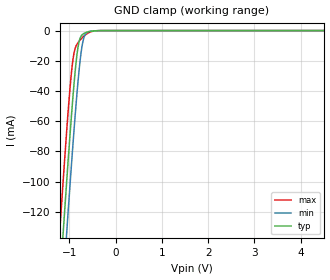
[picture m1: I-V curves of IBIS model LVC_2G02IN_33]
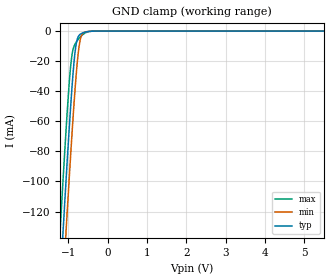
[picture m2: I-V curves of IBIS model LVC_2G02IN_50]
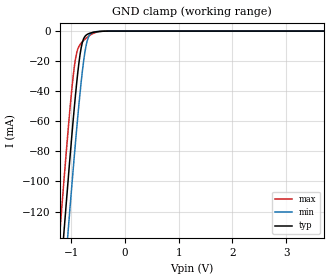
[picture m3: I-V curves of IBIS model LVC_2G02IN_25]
| NXP Semiconductors
| Logic Products Group
| IBIS model of 74LVC2G02
| 3.3V DUAL 2-INPUT NOR GATE
|[Packages]:
|[Package1]: TSSOP8 (DP) 8-pins Package
|[Package2]: VSSOP8 (DC) 8-pins Package
|[Package3]: XSON8 (GT) 8-pins Package
|[Package4]: XSON8 (GF) 8-pins Package
|[Package5]: XSON8U (GD) 8-pins package
|[Package6]: XSON8 (GN) 8-pins Package
|[Package7]: XSON8 (GS) 8-pins Package
|[Package8]: XQFN8U (GM) 8-pins Package
[IBIS Ver]   3.2
[File Name]   lvc2g02.ibs
[File Rev]   1.2
[Date]   01-Feb-2013
[Source]   File created from simulations by LPG
   NXP Semiconductors Nijmegen
[Notes]   V1.2   Ibis model.
| Revision History
| Version Date   Author/ Description
|   Editor
| 1.0   August   2003 RM   Initial Version
| 1.1   December 2004 RRV   Added XSON package
| 1.2   December 2011 GY   Updated models,added GN,GS package
| Remarks:
| 1. The Power Clamp curves have been omitted since there is no power clamp
|   diode.
| 2. Non-monotonic sections below 0V in pulldown and pullup curves have been
|   removed (if any).
[Disclaimer]
    NXP Semiconductors warrants and represents that the IBIS model
    identified herein is owned by NXP Semiconductors (NXP). The
    model provided is not warranted as fully representing all of the
    operating characteristics and specifications of the semiconductor
    products to which the model relates.  Moreover, unless there is a
    signed, written agreement to the contrary, this IBIS model is
    furnished on an "as is" basis without support or warranty of any
    kind, either expressed or implied, regarding the use thereof, and
    NXP specifically disclaims all implied warranties of
    merchantability and fitness of the model for any purpose.
    NXP does not assume any liability arising out of the application
    or use of this IBIS model including infringement of patents and
    copyrights, nor does NXP convey any license under its patents and
    copyrights or the rights of others.
    NXP provides IBIS models as a service to our customers. You and
    your company shall not distribute, convey, sell, or give these models
    to anyone else without receiving prior written permission from
    NXP.
    NXP reserves the right to make changes without notice to these
    IBIS models to improve reliability, function, or design.
    Please be aware that your receipt and subsequent use of the IBIS
    information provided shall serve as acceptance of the terms and
    conditions of this agreement.  If you do not accept these terms,
    you should return or destroy the IBIS models and any other
    accompanying information immediately.
[Copyright]
   (C) Copyright 2011 NXP Semiconductors
   All rights reserved
|   Info for  TSSOP8 (DP) 8-pins Package
[Component]   74LVC2G02_DP
[Manufacturer]   NXP Semiconductors
[Package]
|   Typ   Min   Max
R_pkg   7.796E-02   6.927E-02   8.662E-02
L_pkg   1.612E-09   1.470E-09   1.752E-09
C_pkg   3.647E-13   3.408E-13   3.889E-13
[Pin] signal_name   model_name   R_pin   L_pin   C_pin
   1   A1   LVC2G02_IN 8.661E-02   1.752E-09   3.411E-13
   2   B1   LVC2G02_IN 6.930E-02   1.472E-09   3.889E-13
   3   Y2#   LVC2G02_OUTI 6.932E-02   1.475E-09   3.883E-13
   4   GND   GND 8.662E-02   1.752E-09   3.410E-13
   5   A2   LVC2G02_IN  8.662E-02   1.751E-09   3.408E-13
   6   B2   LVC2G02_IN  6.930E-02   1.472E-09   3.880E-13
   7   Y1#   LVC2G02_OUTI  6.927E-02   1.470E-09   3.883E-13
   8   VCC   POWER 8.662E-02   1.750E-09   3.409E-13
|   Info for  VSSOP8 (DC) 8-pins Package
[Component]   74LVC2G02_DC
[Manufacturer]   NXP Semiconductors
[Package]
|   Typ   Min   Max
R_pkg   8.321E-02   8.287E-02   8.533E-02
L_pkg   1.585E-09   1.544E-09   1.824E-09
C_pkg   3.093E-13   2.504E-13   5.556E-13
[Pin] signal_name   model_name   R_pin   L_pin   C_pin
   1   A1   LVC2G02_IN 8.295E-02   1.560E-09   2.505E-13
   2   B1   LVC2G02_IN 8.290E-02   1.546E-09   2.924E-13
   3   Y2#   LVC2G02_OUTI 8.288E-02   1.546E-09   2.896E-13
   4   GND   GND 8.533E-02   1.824E-09   5.556E-13
   5   A2   LVC2G02_IN  8.295E-02   1.560E-09   2.504E-13
   6   B2   LVC2G02_IN  8.287E-02   1.544E-09   2.920E-13
   7   Y1#   LVC2G02_OUTI  8.289E-02   1.545E-09   2.920E-13
   8   VCC   POWER 8.293E-02   1.559E-09   2.516E-13
|   Info for  XSON8 (GT) 8-pins Package
[Component]   74LVC2G02_GT
[Manufacturer]   NXP Semiconductors
[Package]
|   Typ   Min   Max
R_pkg   4.241E-02   3.477E-02   5.228E-02
L_pkg   5.404E-10   4.419E-10   6.673E-10
C_pkg   1.195E-13   1.144E-13   1.275E-13
[Pin] signal_name   model_name   R_pin   L_pin   C_pin
   1   A1   LVC2G02_IN 4.701E-02 6.002E-10 1.203E-13
   2   B1   LVC2G02_IN 3.559E-02 4.525E-10 1.154E-13
   3   Y2#   LVC2G02_OUTI 3.478E-02 4.421E-10 1.144E-13
   4   GND   GND 5.228E-02 6.673E-10 1.275E-13
   5   A2   LVC2G02_IN 5.228E-02 6.672E-10 1.275E-13
   6   B2   LVC2G02_IN 3.477E-02 4.419E-10 1.145E-13
   7   Y1#   LVC2G02_OUTI 3.558E-02 4.523E-10 1.154E-13
   8   VCC   POWER 4.701E-02 5.996E-10 1.211E-13
|   Info for  XSON8 (GF) 8-pins Package
[Component]   74LVC2G02_GF
[Manufacturer]   NXP Semiconductors
[Package]
|   Typ   Min   Max
R_pkg   3.673E-02   3.526E-02   3.882E-02
L_pkg   4.676E-10   4.489E-10   4.948E-10
C_pkg   1.130E-13   1.067E-13   1.165E-13
[Pin] signal_name   model_name   R_pin   L_pin   C_pin
   1   A1   LVC2G02_IN 3.526E-02 4.496E-10 1.067E-13
   2   B1   LVC2G02_IN 3.655E-02 4.648E-10 1.165E-13
   3   Y2#   LVC2G02_OUTI 3.631E-02 4.617E-10 1.162E-13
   4   GND   GND 3.882E-02 4.948E-10 1.119E-13
   5   A2   LVC2G02_IN 3.882E-02 4.946E-10 1.120E-13
   6   B2   LVC2G02_IN 3.630E-02 4.615E-10 1.163E-13
   7   Y1#   LVC2G02_OUTI 3.654E-02 4.646E-10 1.165E-13
   8   VCC   POWER 3.526E-02 4.489E-10 1.076E-13
|   Info for  XSON8U (GD) 8-pins package
[Component]   74LVC2G02_GD
[Manufacturer]   NXP Semiconductors
[Package]
|   Typ   Min   Max
R_pkg   7.877E-02   7.876E-02   7.877E-02
L_pkg   1.209E-09   1.209E-09   1.209E-09
C_pkg   1.410E-13   1.367E-13   1.439E-13
[Pin] signal_name   model_name   R_pin   L_pin   C_pin
   1   A1   LVC2G02_IN 7.876E-02 1.209E-09 1.426E-13
   2   B1   LVC2G02_IN 7.877E-02 1.209E-09 1.439E-13
   3   Y2#   LVC2G02_OUTI 7.877E-02 1.209E-09 1.435E-13
   4   GND   GND 7.876E-02 1.209E-09 1.367E-13
   5   A2   LVC2G02_IN 7.876E-02 1.209E-09 1.369E-13
   6   B2   LVC2G02_IN 7.877E-02 1.209E-09 1.435E-13
   7   Y1#   LVC2G02_OUTI 7.877E-02 1.209E-09 1.435E-13
   8   VCC   POWER 7.876E-02 1.209E-09 1.372E-13
|   Info for  XSON8 (GN) 8-pins Package
[Component]   74LVC2G02_GN
[Manufacturer]   NXP Semiconductors
[Package]
|   Typ   Min   Max
R_pkg   4.574E-02   4.573E-02   4.574E-02
L_pkg   5.846E-10   5.845E-10   5.846E-10
C_pkg   1.431E-13   1.301E-13   1.562E-13
[Pin] signal_name   model_name   R_pin   L_pin   C_pin
   1   A1   LVC2G02_IN 4.573E-02 5.846E-10 1.302E-13
   2   B1   LVC2G02_IN 4.574E-02 5.845E-10 1.562E-13
   3   Y2#   LVC2G02_OUTI 4.574E-02 5.845E-10 1.560E-13
   4   GND   GND 4.574E-02 5.846E-10 1.301E-13
   5   A2   LVC2G02_IN 4.574E-02 5.846E-10 1.301E-13
   6   B2   LVC2G02_IN 4.574E-02 5.845E-10 1.561E-13
   7   Y1#   LVC2G02_OUTI 4.574E-02 5.845E-10 1.562E-13
   8   VCC   POWER 4.574E-02 5.846E-10 1.302E-13
|   Info for  XSON8 (GS) 8-pins Package
[Component]   74LVC2G02_GS
[Manufacturer]   NXP Semiconductors
[Package]
|   Typ   Min   Max
R_pkg   5.159E-02   5.158E-02   5.159E-02
L_pkg   6.596E-10   6.595E-10   6.596E-10
C_pkg   1.499E-13   1.368E-13   1.630E-13
[Pin] signal_name   model_name   R_pin   L_pin   C_pin
   1   A1   LVC2G02_IN 5.158E-02 6.596E-10 1.369E-13
   2   B1   LVC2G02_IN 5.159E-02 6.595E-10 1.630E-13
   3   Y2#   LVC2G02_OUTI 5.159E-02 6.595E-10 1.628E-13
   4   GND   GND 5.159E-02 6.596E-10 1.369E-13
   5   A2   LVC2G02_IN 5.159E-02 6.596E-10 1.368E-13
   6   B2   LVC2G02_IN 5.159E-02 6.595E-10 1.628E-13
   7   Y1#   LVC2G02_OUTI 5.159E-02 6.595E-10 1.629E-13
   8   VCC   POWER 5.159E-02 6.596E-10 1.370E-13
|   Info for  XQFN8U (GM) 8-pins Package
[Component]   74LVC2G02_GM
[Manufacturer]   NXP Semiconductors
[Package]
|   Typ   Min   Max
R_pkg   9.438E-02   9.437E-02   9.439E-02
L_pkg   1.207E-09   1.206E-09   1.208E-09
C_pkg   1.795E-13   1.749E-13   1.833E-13
[Pin] signal_name   model_name   R_pin   L_pin   C_pin
   1   Y1#   LVC2G02_OUTI 9.439E-02 1.208E-09 1.749E-13
   2   B2   LVC2G02_IN 9.437E-02 1.206E-09 1.832E-13
   3   A2   LVC2G02_IN 9.437E-02 1.206E-09 1.832E-13
   4   GND   GND 9.438E-02 1.207E-09 1.760E-13
   5   Y2#   LVC2G02_OUTI 9.438E-02 1.207E-09 1.761E-13
   6   B1   LVC2G02_IN 9.437E-02 1.206E-09 1.833E-13
   7   A1   LVC2G02_IN 9.437E-02 1.206E-09 1.833E-13
   8   VCC   POWER 9.438E-02 1.207E-09 1.758E-13
[Model Selector]   LVC2G02_OUTI
LVC_2G02OUTI_33   3.3V-Vcc output model (inverting)
LVC_2G02OUTI_50   5.0V-Vcc output model (inverting)
LVC_2G02OUTI_25   2.5V-Vcc output model (inverting)
LVC_2G02OUTI_18   1.8V-Vcc output model (inverting)
[Model Selector]   LVC2G02_IN
LVC_2G02IN_33   3.3V-Vcc input model
LVC_2G02IN_50   5.0V-Vcc input model
LVC_2G02IN_25   2.5V-Vcc input model
LVC_2G02IN_18   1.8V-Vcc input model
| Models and submodels in the file (8): LVC_2G02IN_33 (Input), LVC_2G02IN_50 (Input), LVC_2G02IN_25 (Input), LVC_2G02IN_18 (Input), LVC_2G02OUTI_33 (Output), LVC_2G02OUTI_50 (Output), LVC_2G02OUTI_25 (Output), LVC_2G02OUTI_18 (Output)
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| Remark: If your software does not support the Model Selector
|   Please comment out the lines of the Model Selector, which
|   contain the name of the Model, except the one you want to use.
|   Model LVC_2G02IN_33
[Model]   LVC_2G02IN_33
Model_type   Input
Vinl =   0.8V
Vinh =   2.0V
C_comp   2.96pF   2.12pF   3.91pF
[Model Spec]
| Note: The input and output voltage ratings may be exceeded if the input and
|   output current ratings are observed (please refer to the data sheet)
|   Subparameter   typ   min   max
| Thresholds
Vinh   2.0   2.0   2.0
Vinl   0.8   0.8   0.8
| Overshoot
S_overshoot_high   6.5   6.5   6.5   | Static overshoot
S_overshoot_low   -0.5   -0.5   -0.5
D_overshoot_high   7.2   7.2   7.2   | Dynamic overshoot
D_overshoot_low   -0.95   -0.9   -1.0
D_overshoot_time   3n   3n   3n
|Ambient temperature:   25   85   -40
[Temperature Range]   50   105   -10
[Voltage Range]   3.3V   3.0V   3.6V
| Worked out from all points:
|   GND clamp passes 1 mA (typ) near -0.61 V on its own axis
|Process Range   nominal   slow   fast
[GND_clamp]
| voltage   I(typ)   I(min)   I(max)
-5.5V     -2.277A    -2.307A    -2.246A
-1.221V   -173.6mA   -208.2mA   -138.8mA
-1.2V     -163.7mA   -198.3mA   -129mA
-1.136V   -134.3mA   -168.7mA   -99.82mA
-1.071V   -105.4mA   -139.6mA   -71.73mA
-1.05V    -95.98mA   -130mA     -62.73mA
-942.9mV  -51.21mA   -83.48mA   -24.05mA
-900mV    -35.22mA   -65.87mA   -14.8mA
-835.7mV  -15.71mA   -41.31mA   -9.021mA
-728.6mV  -2.901mA   -10.64mA   -4.899mA
-642.9mV  -1.321mA   -1.88mA    -2.576mA
5.5V      0A         0A         0A
|   Model LVC_2G02IN_50
[Model]   LVC_2G02IN_50
Model_type   Input
Vinl =   1.5V
Vinh =   3.5V
C_comp   2.89pF   1.97pF   3.94pF
[Model Spec]
| Note: The input and output voltage ratings may be exceeded if the input and
|   output current ratings are observed (please refer to the data sheet)
|   Subparameter   typ   min   max
| Thresholds
Vinh   3.5   3.15   3.85
Vinl   1.5   1.35   1.65
| Overshoot
S_overshoot_high   6.5   6.5   6.5   | Static overshoot
S_overshoot_low   -0.5   -0.5   -0.5
D_overshoot_high   11.0   11.0   11.0   | Dynamic overshoot
D_overshoot_low   -0.95   -0.9   -1.0
D_overshoot_time   3n   3n   3n
|Ambient temperature:   25   85   -40
[Temperature Range]   50   105   -10
[Voltage Range]   5.0V   4.5V   5.5V
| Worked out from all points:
|   GND clamp passes 1 mA (typ) near -0.61 V on its own axis
|Process Range   nominal   slow   fast
[GND_clamp]
| voltage   I(typ)   I(min)   I(max)
-5.5V     -2.277A    -2.307A    -2.246A
-1.221V   -173.6mA   -208.2mA   -138.8mA
-1.2V     -163.7mA   -198.3mA   -129mA
-1.136V   -134.3mA   -168.7mA   -99.82mA
-1.071V   -105.4mA   -139.6mA   -71.73mA
-1.05V    -95.98mA   -130mA     -62.73mA
-942.9mV  -51.21mA   -83.48mA   -24.05mA
-900mV    -35.22mA   -65.87mA   -14.8mA
-835.7mV  -15.71mA   -41.31mA   -9.021mA
-728.6mV  -2.901mA   -10.64mA   -4.899mA
-642.9mV  -1.321mA   -1.88mA    -2.576mA
5.5V      0A         0A         0A
|   Model LVC_2G02IN_25
[Model]   LVC_2G02IN_25
Model_type   Input
Vinl =   0.7V
Vinh =   1.7V
C_comp   3.01pF   2.23pF   3.90pF
[Model Spec]
| Note: The input and output voltage ratings may be exceeded if the input and
|   output current ratings are observed (please refer to the data sheet)
|   Subparameter   typ   min   max
| Thresholds
Vinh   1.7   1.7   1.7
Vinl   0.7   0.7   0.7
| Overshoot
S_overshoot_high   6.5   6.5   6.5   | Static overshoot
S_overshoot_low   -0.5   -0.5   -0.5
D_overshoot_high   7.2   7.2   7.2   | Dynamic overshoot
D_overshoot_low   -0.95   -0.9   -1.0
D_overshoot_time   3n   3n   3n
|Ambient temperature:   25   85   -40
[Temperature Range]   30   90   -35
[Voltage Range]   2.5V   2.3V   2.7V
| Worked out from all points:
|   GND clamp passes 1 mA (typ) near -0.61 V on its own axis
|Process Range   nominal   slow   fast
[GND_clamp]
| voltage   I(typ)   I(min)   I(max)
-5.5V     -2.277A    -2.307A    -2.246A
-1.221V   -173.6mA   -208.2mA   -138.8mA
-1.2V     -163.7mA   -198.3mA   -129mA
-1.136V   -134.3mA   -168.7mA   -99.82mA
-1.071V   -105.4mA   -139.6mA   -71.73mA
-1.05V    -95.98mA   -130mA     -62.73mA
-942.9mV  -51.21mA   -83.48mA   -24.05mA
-900mV    -35.22mA   -65.87mA   -14.8mA
-835.7mV  -15.71mA   -41.31mA   -9.021mA
-728.6mV  -2.901mA   -10.64mA   -4.899mA
-642.9mV  -1.321mA   -1.88mA    -2.576mA
5.5V      0A         0A         0A
